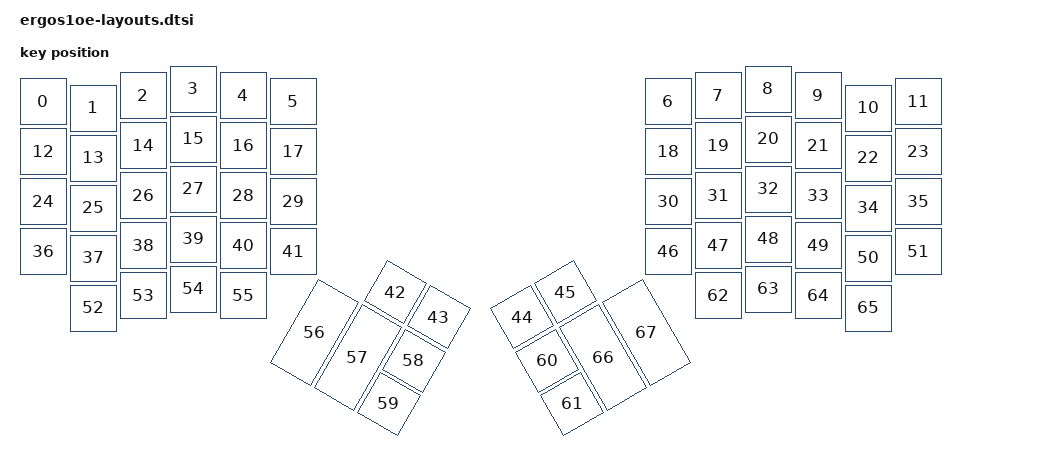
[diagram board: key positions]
#include <physical_layouts.dtsi>

/ {
    ergos1oe_physical_layout: ergos1oe_physical_layout {
        compatible = "zmk,physical-layout";
        display-name = "ergos1oe (ordered)";

        /*
         * NOTE:
         * The order of `keys = ...` MUST match the keymap bindings order.
         * This list is now ordered logically (row by row), using your exact geometry.
         */

        keys = <
            /* ================= Row 1 (12): left 6, right 6 ================= */
            /* left: = 1 2 3 4 5 */
            &key_physical_attrs 100 100   50   25      0     0     0  /* idx 6  */
            &key_physical_attrs 100 100  150   38      0     0     0  /* idx 10 */
            &key_physical_attrs 100 100  250   13      0     0     0  /* idx 2  */
            &key_physical_attrs 100 100  350    0      0     0     0  /* idx 0  */
            &key_physical_attrs 100 100  450   13      0     0     0  /* idx 3  */
            &key_physical_attrs 100 100  550   25      0     0     0  /* idx 7  */

            /* right: 6 7 8 9 0 - */
            &key_physical_attrs 100 100 1300   25      0     0     0  /* idx 8  */
            &key_physical_attrs 100 100 1400   13      0     0     0  /* idx 4  */
            &key_physical_attrs 100 100 1500    0      0     0     0  /* idx 1  */
            &key_physical_attrs 100 100 1600   13      0     0     0  /* idx 5  */
            &key_physical_attrs 100 100 1700   38      0     0     0  /* idx 11 */
            &key_physical_attrs 100 100 1800   25      0     0     0  /* idx 9  */

            /* ================= Row 2 (12) ================= */
            &key_physical_attrs 100 100   50  125      0     0     0  /* idx 18 */
            &key_physical_attrs 100 100  150  138      0     0     0  /* idx 22 */
            &key_physical_attrs 100 100  250  113      0     0     0  /* idx 14 */
            &key_physical_attrs 100 100  350  100      0     0     0  /* idx 12 */
            &key_physical_attrs 100 100  450  113      0     0     0  /* idx 15 */
            &key_physical_attrs 100 100  550  125      0     0     0  /* idx 19 */

            &key_physical_attrs 100 100 1300  125      0     0     0  /* idx 20 */
            &key_physical_attrs 100 100 1400  113      0     0     0  /* idx 16 */
            &key_physical_attrs 100 100 1500  100      0     0     0  /* idx 13 */
            &key_physical_attrs 100 100 1600  113      0     0     0  /* idx 17 */
            &key_physical_attrs 100 100 1700  138      0     0     0  /* idx 23 */
            &key_physical_attrs 100 100 1800  125      0     0     0  /* idx 21 */

            /* ================= Row 3 (12) ================= */
            &key_physical_attrs 100 100   50  225      0     0     0  /* idx 30 */
            &key_physical_attrs 100 100  150  238      0     0     0  /* idx 34 */
            &key_physical_attrs 100 100  250  213      0     0     0  /* idx 26 */
            &key_physical_attrs 100 100  350  200      0     0     0  /* idx 24 */
            &key_physical_attrs 100 100  450  213      0     0     0  /* idx 27 */
            &key_physical_attrs 100 100  550  225      0     0     0  /* idx 31 */

            &key_physical_attrs 100 100 1300  225      0     0     0  /* idx 32 */
            &key_physical_attrs 100 100 1400  213      0     0     0  /* idx 28 */
            &key_physical_attrs 100 100 1500  200      0     0     0  /* idx 25 */
            &key_physical_attrs 100 100 1600  213      0     0     0  /* idx 29 */
            &key_physical_attrs 100 100 1700  238      0     0     0  /* idx 35 */
            &key_physical_attrs 100 100 1800  225      0     0     0  /* idx 33 */

            /* ================= Row 4 (16): left 6, center 4, right 6 ================= */
            &key_physical_attrs 100 100   50  325      0     0     0  /* idx 42 */
            &key_physical_attrs 100 100  150  338      0     0     0  /* idx 46 */
            &key_physical_attrs 100 100  250  313      0     0     0  /* idx 38 */
            &key_physical_attrs 100 100  350  300      0     0     0  /* idx 36 */
            &key_physical_attrs 100 100  450  313      0     0     0  /* idx 39 */
            &key_physical_attrs 100 100  550  325      0     0     0  /* idx 43 */

            /* center 4 (your rotated “inner” keys) */
            &key_physical_attrs 100 100  750  325   3000   650   425  /* idx 56 */
            &key_physical_attrs 100 100  850  325   3000   650   425  /* idx 57 */
            &key_physical_attrs 100 100 1000  325 (-3000) 1300   425  /* idx 62 */
            &key_physical_attrs 100 100 1100  325 (-3000) 1300   425  /* idx 63 */

            &key_physical_attrs 100 100 1300  325      0     0     0  /* idx 44 */
            &key_physical_attrs 100 100 1400  313      0     0     0  /* idx 40 */
            &key_physical_attrs 100 100 1500  300      0     0     0  /* idx 37 */
            &key_physical_attrs 100 100 1600  313      0     0     0  /* idx 41 */
            &key_physical_attrs 100 100 1700  338      0     0     0  /* idx 47 */
            &key_physical_attrs 100 100 1800  325      0     0     0  /* idx 45 */

            /* ================= Row 5 (14): left 4, middle 6, right 4 ================= */
            /* left 4 */
            &key_physical_attrs 100 100  150  438      0     0     0  /* idx 54 */
            &key_physical_attrs 100 100  250  413      0     0     0  /* idx 50 */
            &key_physical_attrs 100 100  350  400      0     0     0  /* idx 48 */
            &key_physical_attrs 100 100  450  413      0     0     0  /* idx 51 */

            /* middle 6 (your thumbs / nav cluster)
             * order: BACKSPACE, FN, HOME, PG_UP, ENTER, SPACE
             */
            &key_physical_attrs 100 200  650  425   3000   650   425  /* idx 58 */
            &key_physical_attrs 100 200  750  425   3000   650   425  /* idx 59 */
            &key_physical_attrs 100 100  850  425   3000   650   425  /* idx 60 */
            &key_physical_attrs 100 100  850  525   3000   650   425  /* idx 61 */
            &key_physical_attrs 100 100 1000  425 (-3000) 1300   425  /* idx 64 */
            &key_physical_attrs 100 100 1000  525 (-3000) 1300   425  /* idx 67 */

            /* right 4 */
            &key_physical_attrs 100 100 1400  413      0     0     0  /* idx 52 */
            &key_physical_attrs 100 100 1500  400      0     0     0  /* idx 49 */
            &key_physical_attrs 100 100 1600  413      0     0     0  /* idx 53 */
            &key_physical_attrs 100 100 1700  438      0     0     0  /* idx 55 */

            /* ================= Row 6 (2): END, PG_DN ================= */
            &key_physical_attrs 100 200 1100  425 (-3000) 1300   425  /* idx 65 */
            &key_physical_attrs 100 200 1200  425 (-3000) 1300   425  /* idx 66 */
        >;
    };
};
